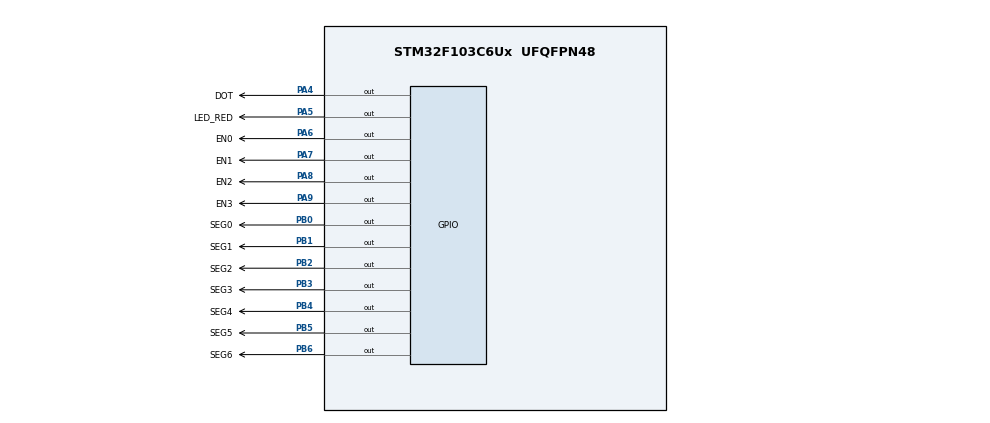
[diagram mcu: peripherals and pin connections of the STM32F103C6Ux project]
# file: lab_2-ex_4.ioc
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Mcu.Family=STM32F1
Mcu.Name=STM32F103C6Ux
Mcu.Package=UFQFPN48
NVIC.PriorityGroup=NVIC_PRIORITYGROUP_4
NVIC.TIM2_IRQn=true\:0\:0\:false\:false\:true\:true\:true
PA4.GPIO_Label=DOT
PA4.Signal=GPIO_Output
PA5.GPIO_Label=LED_RED
PA5.Signal=GPIO_Output
PA6.GPIO_Label=EN0
PA6.Signal=GPIO_Output
PA7.GPIO_Label=EN1
PA7.Signal=GPIO_Output
PA8.GPIO_Label=EN2
PA8.Signal=GPIO_Output
PA9.GPIO_Label=EN3
PA9.Signal=GPIO_Output
PB0.GPIO_Label=SEG0
PB0.Signal=GPIO_Output
PB1.GPIO_Label=SEG1
PB1.Signal=GPIO_Output
PB2.GPIO_Label=SEG2
PB2.Signal=GPIO_Output
PB3.GPIO_Label=SEG3
PB3.Signal=GPIO_Output
PB4.GPIO_Label=SEG4
PB4.Signal=GPIO_Output
PB5.GPIO_Label=SEG5
PB5.Signal=GPIO_Output
PB6.GPIO_Label=SEG6
PB6.Signal=GPIO_Output
ProjectManager.HeapSize=0x200
ProjectManager.StackSize=0x400
ProjectManager.TargetToolchain=STM32CubeIDE
RCC.APB1Freq_Value=8000000
RCC.APB2Freq_Value=8000000
TIM2.Period=9
TIM2.Prescaler=7999
VP_SYS_VS_ND.Mode=No_Debug
VP_TIM2_VS_ClockSourceINT.Mode=Internal
board=custom

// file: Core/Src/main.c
/* USER CODE BEGIN Header */
/**
  ******************************************************************************
  * @file           : main.c
  * @brief          : Main program body
  ******************************************************************************
  * @attention
  *
  * <h2><center>&copy; Copyright (c) 2022 STMicroelectronics.
  * All rights reserved.</center></h2>
  *
  * This software component is licensed by ST under BSD 3-Clause license,
  * the "License"; You may not use this file except in compliance with the
  * License. You may obtain a copy of the License at:
  *                        opensource.org/licenses/BSD-3-Clause
  *
  ******************************************************************************
  */
/* USER CODE END Header */
#include "main.h"

TIM_HandleTypeDef htim2;

void SystemClock_Config(void);
static void MX_GPIO_Init(void);
static void MX_TIM2_Init(void);

int main(void)
{

  /* MCU Configuration--------------------------------------------------------*/

  /* Reset of all peripherals, Initializes the Flash interface and the Systick. */
  HAL_Init();

  /* Configure the system clock */
  SystemClock_Config();

  /* Initialize all configured peripherals */
  MX_GPIO_Init();
  MX_TIM2_Init();
  /* USER CODE BEGIN 2 */
  HAL_TIM_Base_Start_IT(&htim2);
  /* USER CODE END 2 */

  /* Infinite loop */
  while (1)
  {

  }
}

void SystemClock_Config(void)
{
  RCC_OscInitTypeDef RCC_OscInitStruct = {0};
  RCC_ClkInitTypeDef RCC_ClkInitStruct = {0};

  /** Initializes the RCC Oscillators according to the specified parameters
  * in the RCC_OscInitTypeDef structure.
  */
  RCC_OscInitStruct.OscillatorType = RCC_OSCILLATORTYPE_HSI;
  RCC_OscInitStruct.HSIState = RCC_HSI_ON;
  RCC_OscInitStruct.HSICalibrationValue = RCC_HSICALIBRATION_DEFAULT;
  RCC_OscInitStruct.PLL.PLLState = RCC_PLL_NONE;
  if (HAL_RCC_OscConfig(&RCC_OscInitStruct) != HAL_OK)
  {
    Error_Handler();
  }
  /** Initializes the CPU, AHB and APB buses clocks
  */
  RCC_ClkInitStruct.ClockType = RCC_CLOCKTYPE_HCLK|RCC_CLOCKTYPE_SYSCLK
                              |RCC_CLOCKTYPE_PCLK1|RCC_CLOCKTYPE_PCLK2;
  RCC_ClkInitStruct.SYSCLKSource = RCC_SYSCLKSOURCE_HSI;
  RCC_ClkInitStruct.AHBCLKDivider = RCC_SYSCLK_DIV1;
  RCC_ClkInitStruct.APB1CLKDivider = RCC_HCLK_DIV1;
  RCC_ClkInitStruct.APB2CLKDivider = RCC_HCLK_DIV1;

  if (HAL_RCC_ClockConfig(&RCC_ClkInitStruct, FLASH_LATENCY_0) != HAL_OK)
  {
    Error_Handler();
  }
}

static void MX_TIM2_Init(void)
{

  TIM_ClockConfigTypeDef sClockSourceConfig = {0};
  TIM_MasterConfigTypeDef sMasterConfig = {0};

  htim2.Instance = TIM2;
  htim2.Init.Prescaler = 7999;
  htim2.Init.CounterMode = TIM_COUNTERMODE_UP;
  htim2.Init.Period = 9;
  htim2.Init.ClockDivision = TIM_CLOCKDIVISION_DIV1;
  htim2.Init.AutoReloadPreload = TIM_AUTORELOAD_PRELOAD_DISABLE;
  if (HAL_TIM_Base_Init(&htim2) != HAL_OK)
  {
    Error_Handler();
  }
  sClockSourceConfig.ClockSource = TIM_CLOCKSOURCE_INTERNAL;
  if (HAL_TIM_ConfigClockSource(&htim2, &sClockSourceConfig) != HAL_OK)
  {
    Error_Handler();
  }
  sMasterConfig.MasterOutputTrigger = TIM_TRGO_RESET;
  sMasterConfig.MasterSlaveMode = TIM_MASTERSLAVEMODE_DISABLE;
  if (HAL_TIMEx_MasterConfigSynchronization(&htim2, &sMasterConfig) != HAL_OK)
  {
    Error_Handler();
  }

}

static void MX_GPIO_Init(void)
{
  GPIO_InitTypeDef GPIO_InitStruct = {0};

  /* GPIO Ports Clock Enable */
  __HAL_RCC_GPIOA_CLK_ENABLE();
  __HAL_RCC_GPIOB_CLK_ENABLE();

  /*Configure GPIO pin Output Level */
  HAL_GPIO_WritePin(GPIOA, DOT_Pin|LED_RED_Pin|EN0_Pin|EN1_Pin
                          |EN2_Pin|EN3_Pin, GPIO_PIN_RESET);

  /*Configure GPIO pin Output Level */
  HAL_GPIO_WritePin(GPIOB, SEG0_Pin|SEG1_Pin|SEG2_Pin|SEG3_Pin
                          |SEG4_Pin|SEG5_Pin|SEG6_Pin, GPIO_PIN_RESET);

  /*Configure GPIO pins : DOT_Pin LED_RED_Pin EN0_Pin EN1_Pin
                           EN2_Pin EN3_Pin */
  GPIO_InitStruct.Pin = DOT_Pin|LED_RED_Pin|EN0_Pin|EN1_Pin
                          |EN2_Pin|EN3_Pin;
  GPIO_InitStruct.Mode = GPIO_MODE_OUTPUT_PP;
  GPIO_InitStruct.Pull = GPIO_NOPULL;
  GPIO_InitStruct.Speed = GPIO_SPEED_FREQ_LOW;
  HAL_GPIO_Init(GPIOA, &GPIO_InitStruct);

  /*Configure GPIO pins : SEG0_Pin SEG1_Pin SEG2_Pin SEG3_Pin
                           SEG4_Pin SEG5_Pin SEG6_Pin */
  GPIO_InitStruct.Pin = SEG0_Pin|SEG1_Pin|SEG2_Pin|SEG3_Pin
                          |SEG4_Pin|SEG5_Pin|SEG6_Pin;
  GPIO_InitStruct.Mode = GPIO_MODE_OUTPUT_PP;
  GPIO_InitStruct.Pull = GPIO_NOPULL;
  GPIO_InitStruct.Speed = GPIO_SPEED_FREQ_LOW;
  HAL_GPIO_Init(GPIOB, &GPIO_InitStruct);

}

/* USER CODE BEGIN 4 */
const int MAX_LED = 4;
int index_led = 0;
int led_buffer[4] = {0, 5, 7, 8};
unsigned char num[] = {0x40, 0x79, 0x24, 0x30, 0x19, 0x12, 0x02, 0x78, 0x00, 0x10};
void update7SEG(int index){
	HAL_GPIO_WritePin ( EN0_GPIO_Port, EN0_Pin , SET );
	HAL_GPIO_WritePin ( EN1_GPIO_Port, EN1_Pin , SET );
	HAL_GPIO_WritePin ( EN2_GPIO_Port, EN2_Pin , SET );
	HAL_GPIO_WritePin ( EN3_GPIO_Port, EN3_Pin , SET );
    switch (index){
        case 0:
            //Display the first 7SEG with led_buffer[0]
        	GPIOB->ODR = num[led_buffer[0]];
        	HAL_GPIO_WritePin ( EN0_GPIO_Port, EN0_Pin , RESET );
            break;
        case 1:
            //Display the second 7SEG with led_buffer[1]
        	GPIOB->ODR = num[led_buffer[1]];
        	HAL_GPIO_WritePin ( EN1_GPIO_Port, EN1_Pin , RESET );
            break;
        case 2:
            //Display the third 7SEG with led_buffer[2]
        	GPIOB->ODR = num[led_buffer[2]];
        	HAL_GPIO_WritePin ( EN2_GPIO_Port, EN2_Pin , RESET );
            break;
        case 3:
            //Display the forth 7SEG with led_buffer[3]
        	GPIOB->ODR = num[led_buffer[3]];
        	HAL_GPIO_WritePin ( EN3_GPIO_Port, EN3_Pin , RESET );
            break;
        default:
            break;
    }
}
int timer_flag = 25;
int timer_flag_DOT = 100;
void HAL_TIM_PeriodElapsedCallback(TIM_HandleTypeDef *htim){
	if(timer_flag > 0){
		if(timer_flag == 25){
			//TO DO
			update7SEG(index_led);
			index_led++;
			if(index_led > 3){
				index_led = 0;
			}
		}
		timer_flag--;
		timer_flag_DOT--;
		if(timer_flag_DOT == 0){
			timer_flag_DOT = 100;
			HAL_GPIO_TogglePin(DOT_GPIO_Port, DOT_Pin);
		}
		if(timer_flag == 0){
			timer_flag = 25;
			HAL_GPIO_TogglePin(LED_RED_GPIO_Port, LED_RED_Pin);
		}
	}
}
/* USER CODE END 4 */

void Error_Handler(void)
{
  __disable_irq();
  while (1)
  {
  }
}

/************************ (C) COPYRIGHT STMicroelectronics *****END OF FILE****/
